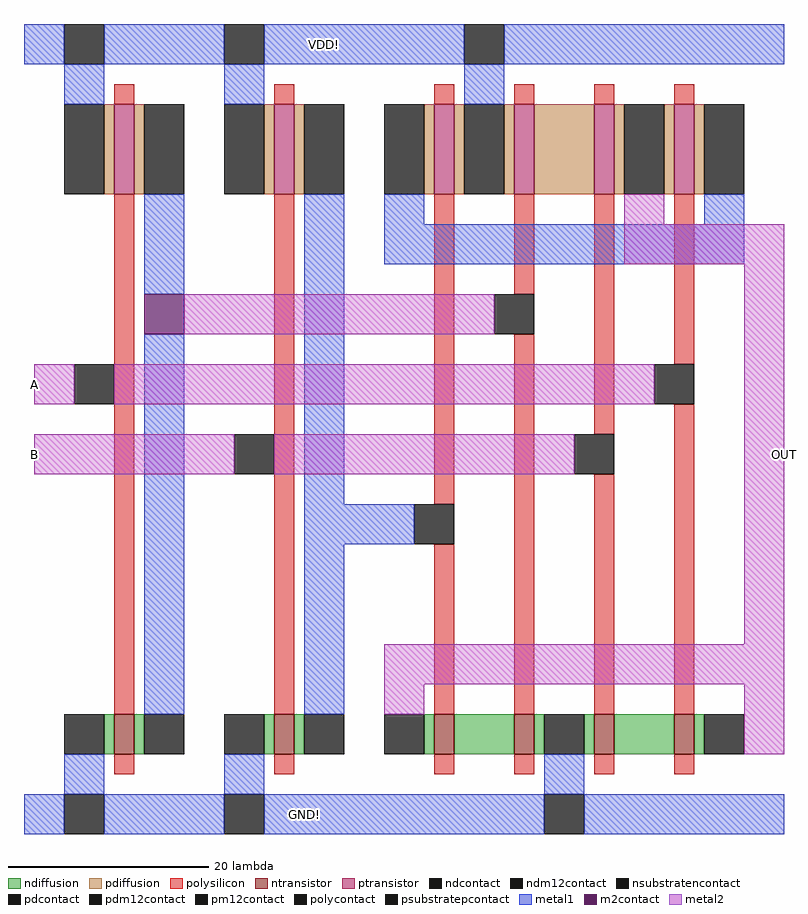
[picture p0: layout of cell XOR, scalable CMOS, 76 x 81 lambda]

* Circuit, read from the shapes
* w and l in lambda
.subckt XOR A B GND! OUT VDD!
M1 n1 A GND! GND! nfet w=4 l=2
M2 n2 B GND! GND! nfet w=4 l=2
M3 n3 n2 OUT GND! nfet w=4 l=2
M4 GND! n1 n3 GND! nfet w=4 l=2
M5 n4 B GND! GND! nfet w=4 l=2
M6 OUT A n4 GND! nfet w=4 l=2
M7 n1 A VDD! VDD! pfet w=9 l=2
M8 n2 B VDD! VDD! pfet w=9 l=2
M9 VDD! n2 n5 VDD! pfet w=9 l=2
M10 n6 n1 VDD! VDD! pfet w=9 l=2
M11 OUT B n6 VDD! pfet w=9 l=2
M12 n5 A OUT VDD! pfet w=9 l=2
.ends

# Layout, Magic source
magic
tech scmos
<< ntransistor >>
rect -42 -12 -40 -8
rect -26 -12 -24 -8
rect -10 -12 -8 -8
rect -2 -12 0 -8
rect 6 -12 8 -8
rect 14 -12 16 -8
<< ptransistor >>
rect -42 44 -40 53
rect -26 44 -24 53
rect -10 44 -8 53
rect -2 44 0 53
rect 6 44 8 53
rect 14 44 16 53
<< ndiffusion >>
rect -43 -12 -42 -8
rect -40 -12 -39 -8
rect -27 -12 -26 -8
rect -24 -12 -23 -8
rect -11 -12 -10 -8
rect -8 -12 -2 -8
rect 0 -12 1 -8
rect 5 -12 6 -8
rect 8 -12 14 -8
rect 16 -12 17 -8
<< pdiffusion >>
rect -43 44 -42 53
rect -40 44 -39 53
rect -27 44 -26 53
rect -24 44 -23 53
rect -11 44 -10 53
rect -8 44 -7 53
rect -3 44 -2 53
rect 0 44 6 53
rect 8 44 9 53
rect 13 44 14 53
rect 16 44 17 53
<< ndcontact >>
rect -47 -12 -43 -8
rect -39 -12 -35 -8
rect -31 -12 -27 -8
rect -23 -12 -19 -8
rect 1 -12 5 -8
<< pdcontact >>
rect -47 44 -43 53
rect -39 44 -35 53
rect -31 44 -27 53
rect -23 44 -19 53
rect -15 44 -11 53
rect -7 44 -3 53
rect 17 44 21 53
<< psubstratepcontact >>
rect -47 -20 -43 -16
rect -31 -20 -27 -16
rect 1 -20 5 -16
<< nsubstratencontact >>
rect -47 57 -43 61
rect -31 57 -27 61
rect -7 57 -3 61
<< polysilicon >>
rect -42 53 -40 55
rect -26 53 -24 55
rect -10 53 -8 55
rect -2 53 0 55
rect 6 53 8 55
rect 14 53 16 55
rect -42 -8 -40 44
rect -26 -8 -24 44
rect -10 13 -8 44
rect -2 34 0 44
rect -10 -8 -8 9
rect -2 -8 0 30
rect 6 20 8 44
rect 14 27 16 44
rect 6 -8 8 16
rect 14 -8 16 23
rect -42 -14 -40 -12
rect -26 -14 -24 -12
rect -10 -14 -8 -12
rect -2 -14 0 -12
rect 6 -14 8 -12
rect 14 -14 16 -12
<< polycontact >>
rect -12 9 -8 13
<< metal1 >>
rect -51 57 -47 61
rect -43 57 -31 61
rect -27 57 -7 61
rect -3 57 25 61
rect -47 53 -43 57
rect -31 53 -27 57
rect -7 53 -3 57
rect -39 34 -35 44
rect -39 -8 -35 30
rect -23 13 -19 44
rect -15 41 -11 44
rect 17 41 21 44
rect -15 37 21 41
rect -23 9 -12 13
rect -23 -8 -19 9
rect -47 -16 -43 -12
rect -31 -16 -27 -12
rect 1 -16 5 -12
rect -51 -20 -47 -16
rect -43 -20 -31 -16
rect -27 -20 1 -16
rect 5 -20 25 -16
<< m2contact >>
rect -39 30 -35 34
<< pm12contact >>
rect -46 23 -42 27
rect -30 16 -26 20
rect -4 30 0 34
rect 12 23 16 27
rect 4 16 8 20
<< pdm12contact >>
rect 9 44 13 53
<< ndm12contact >>
rect -15 -12 -11 -8
rect 17 -12 21 -8
<< metal2 >>
rect 9 41 13 44
rect 9 37 25 41
rect -35 30 -4 34
rect -50 23 -46 27
rect -42 23 12 27
rect -50 16 -30 20
rect -26 16 4 20
rect 21 -1 25 37
rect -15 -5 25 -1
rect -15 -8 -11 -5
rect 21 -12 25 -5
<< labels >>
rlabel metal2 -50 16 -50 20 3 B
rlabel metal2 -50 23 -50 27 3 A
rlabel metal2 25 16 25 20 7 OUT
rlabel metal1 -21 59 -21 59 5 VDD!
rlabel metal1 -23 -18 -23 -18 1 GND!
<< end >>
